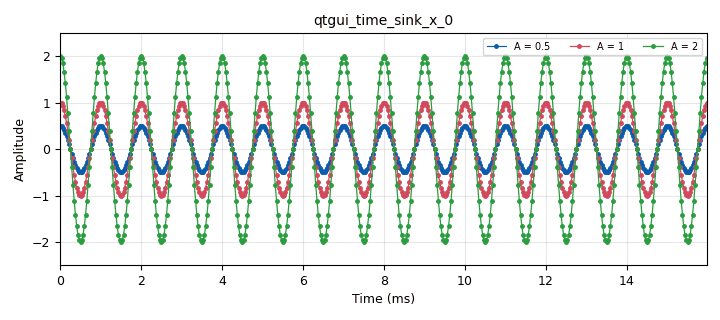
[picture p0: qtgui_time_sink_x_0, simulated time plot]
options:
  parameters:
    author: Dhrubjun
    generate_options: qt_gui
    id: chapter02
    output_language: python
    title: Amplitude Comparison
  states: {}

blocks:
- name: samp_rate
  id: variable
  parameters:
    value: '32000'
  states: {}
- name: analog_sig_source_x_0
  id: analog_sig_source_x
  parameters:
    amp: '0.5'
    freq: '1000'
    offset: '0'
    phase: '0'
    samp_rate: samp_rate
    type: float
    waveform: analog.GR_COS_WAVE
  states: {}
- name: analog_sig_source_x_0_0
  id: analog_sig_source_x
  parameters:
    amp: '1'
    freq: '1000'
    offset: '0'
    phase: '0'
    samp_rate: samp_rate
    type: float
    waveform: analog.GR_COS_WAVE
  states: {}
- name: analog_sig_source_x_0_1
  id: analog_sig_source_x
  parameters:
    amp: '2'
    freq: '1000'
    offset: '0'
    phase: '0'
    samp_rate: samp_rate
    type: float
    waveform: analog.GR_COS_WAVE
  states: {}
- name: blocks_throttle2_0
  id: blocks_throttle2
  parameters:
    samples_per_second: samp_rate
    type: float
  states: {}
- name: blocks_throttle2_0_0
  id: blocks_throttle2
  parameters:
    samples_per_second: samp_rate
    type: float
  states: {}
- name: blocks_throttle2_0_1
  id: blocks_throttle2
  parameters:
    samples_per_second: samp_rate
    type: float
  states: {}
- name: qtgui_time_sink_x_0
  id: qtgui_time_sink_x
  parameters:
    color2: dark red
    grid: 'True'
    label1: A = 0.5
    label2: A = 1
    label3: A = 2
    marker1: '0'
    marker2: '3'
    marker3: '8'
    nconnections: '3'
    size: '512'
    srate: samp_rate
    type: float
    ymax: '2.5'
    ymin: '-2.5'
  states: {}

connections:
- [analog_sig_source_x_0, '0', blocks_throttle2_0_1, '0']
- [analog_sig_source_x_0_0, '0', blocks_throttle2_0, '0']
- [analog_sig_source_x_0_1, '0', blocks_throttle2_0_0, '0']
- [blocks_throttle2_0, '0', qtgui_time_sink_x_0, '1']
- [blocks_throttle2_0_0, '0', qtgui_time_sink_x_0, '2']
- [blocks_throttle2_0_1, '0', qtgui_time_sink_x_0, '0']

metadata:
  file_format: 1
  grc_version: 3.10.12.0
